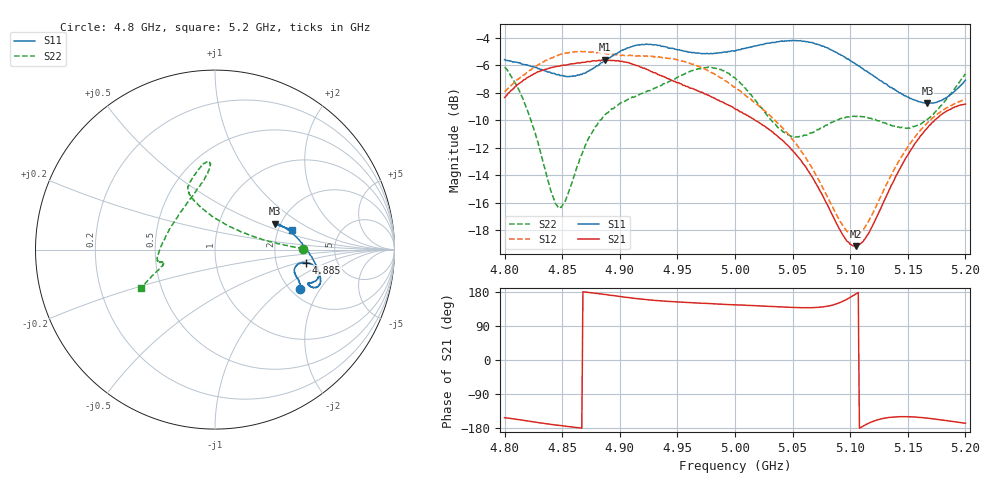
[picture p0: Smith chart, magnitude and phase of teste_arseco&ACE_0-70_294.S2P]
! Network Analyzer HP8722D
! Hewlett-Packard
! Data name: Linha & Wilkinson
! Saver's name: Rodrigo Anjos
! Comments: Teste da utilização de aquisição
! continua pelo VNA HP8722D
! Time and date: 8/5/2025 15:12
!  Frequency  S11  S21  S12  S22
# HZ  S  MA R 50
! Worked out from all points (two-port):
!   401 points, 4.8 GHz to 5.2 GHz, reference 50 ohm
!   highest |S21| = -5.62 dB at 4.887 GHz (marker M1); lowest = -19.2 dB at 5.105 GHz (marker M2)
!   |S21| within 3 dB of the highest: start of sweep to 4.987 GHz
!   lowest |S11| = -8.8 dB at 5.167 GHz (marker M3), VSWR 2.14, Z = 93.4 + j30.9 ohm
!   |S11| at or under -10 dB: nowhere
!   |S22| runs from -16.4 to -6.1 dB; largest |S21 - S12| = 1.1
!   S11 on the Smith chart (normalised r, x): 4.8 GHz: 2.24, -1.36; 4.885 GHz: 2.97, -0.58; 5.2 GHz: 2.36, +0.65
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4.8e9  0.5244 -24.8  0.3819 -152.4  0.4011 6.9  0.4926 0.5
4.818e9  0.5023 -21.1  0.4444 -160.1  0.4656 4.4  0.3582 5.2
4.84e9  0.4702 -17.6  0.4905 -169.7  0.5304 1.1  0.1752 34.4
4.846e9  0.4621 -16.1  0.4963 -172.2  0.5432 -0.1  0.1531 55.6
4.853e9  0.4557 -14.6  0.5001 -174.7  0.5543 -1.4  0.1613 80.8
4.867e9  0.4627 -10.7  0.5123 -179.7  0.5603 -3.4  0.2369 106.7
4.885e9  0.5124 -8.1  0.5223 174.0  0.5523 -4.5  0.3226 114.2
4.887e9  0.5197 -8.1  0.5238 173.0  0.5526 -4.2  0.3301 114.5
4.913e9  0.5901 -12.1  0.5021 162.6  0.5433 -3.5  0.3845 112.7
4.934e9  0.5912 -16.9  0.4618 156.2  0.5381 -4.3  0.4193 107.1
4.975e9  0.5519 -20.1  0.3926 149.3  0.4819 -7.9  0.4905 95.1
5e9  0.5649 -20.8  0.3471 145.6  0.417 -7.6  0.4503 94.1
5.043e9  0.612 -18.9  0.2624 139.6  0.291 0.6  0.2849 130.9
5.067e9  0.605 -14.2  0.1963 138.2  0.2113 8.4  0.284 165.2
5.093e9  0.543 -4.7  0.1219 154.1  0.1317 33.5  0.3214 -173.8
5.105e9  0.505 1.1  0.1099 174.6  0.1205 56.7  0.3257 -169.8
5.115e9  0.4744 6.3  0.1209 -168.4  0.1334 75.4  0.3231 -167.9
5.134e9  0.4183 15.6  0.1766 -151.4  0.1934 94.1  0.3039 -166.6
5.15e9  0.3831 21.5  0.2358 -149.8  0.2524 98.4  0.2959 -165.0
5.167e9  0.3632 23.3  0.2961 -153.5  0.3091 99.2  0.3181 -161.8
5.183e9  0.3802 20.7  0.3392 -159.7  0.349 99.1  0.3734 -157.6
5.2e9  0.4414 14.6  0.3612 -166.8  0.3762 99.7  0.4647 -152.3
